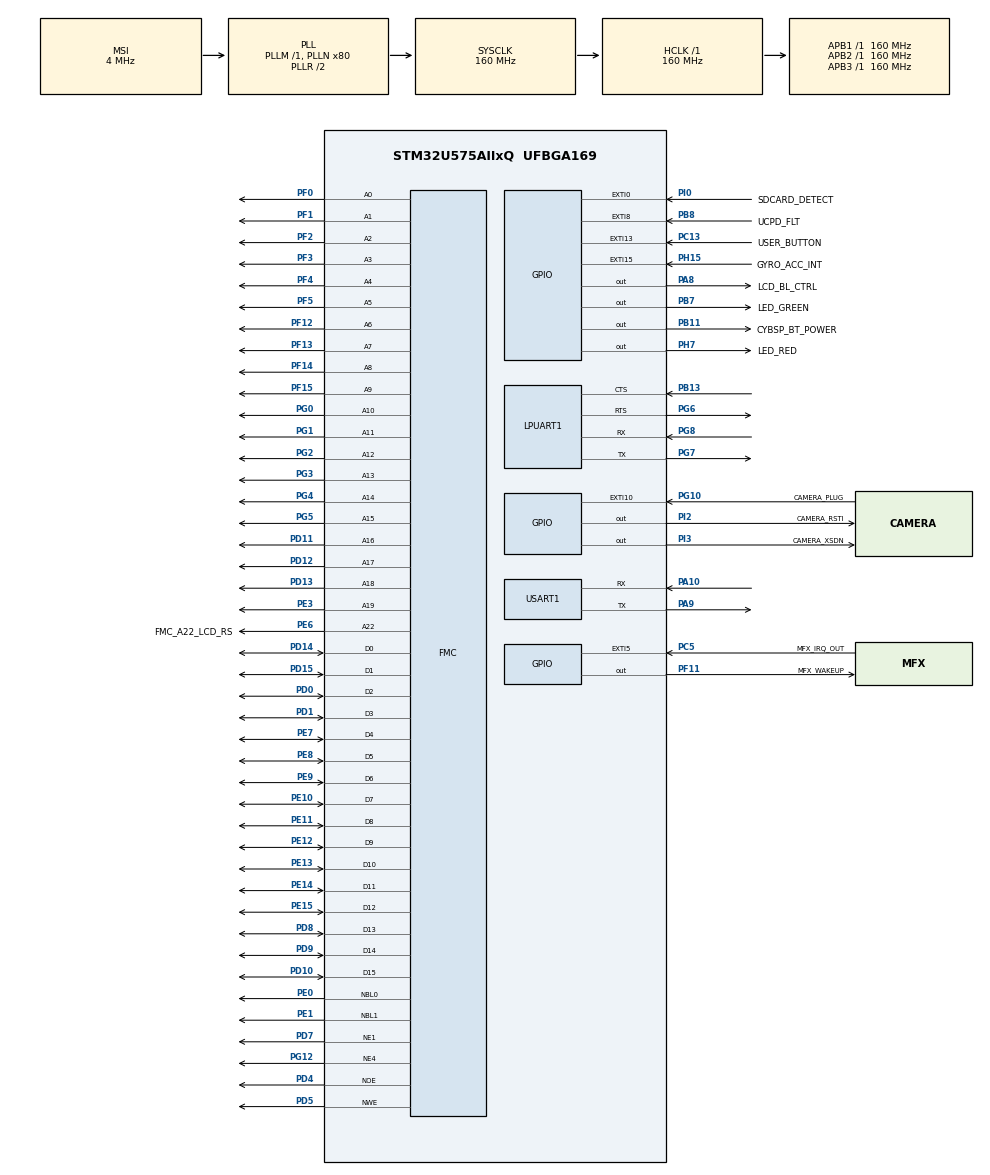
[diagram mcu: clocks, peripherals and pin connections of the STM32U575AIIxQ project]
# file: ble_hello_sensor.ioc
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CORTEX_M33_NS.userName=CORTEX_M33
GPDMA1.DESTINC_GPDMACH14=DMA_DINC_INCREMENTED
GPDMA1.DIRECTION_GPDMACH15=DMA_MEMORY_TO_PERIPH
GPDMA1.IPHANDLE_GPDMACH14-SIMPLEREQUEST_GPDMACH14=__NULL
GPDMA1.IPHANDLE_GPDMACH15-SIMPLEREQUEST_GPDMACH15=__NULL
GPDMA1.REQUEST_GPDMACH14=GPDMA1_REQUEST_LPUART1_RX
GPDMA1.REQUEST_GPDMACH15=GPDMA1_REQUEST_LPUART1_TX
GPDMA1.SRCINC_GPDMACH15=DMA_SINC_INCREMENTED
Infineon.AIROC-Wi-Fi-Bluetooth-STM32.1.8.0.CYBSP_BT_POWER=PB11
Infineon.AIROC-Wi-Fi-Bluetooth-STM32.1.8.0.CYBSP_BT_UART_CTS=PB13
Infineon.AIROC-Wi-Fi-Bluetooth-STM32.1.8.0.CYBSP_BT_UART_RTS=PG6
Infineon.AIROC-Wi-Fi-Bluetooth-STM32.1.8.0.CYBSP_BT_UART_RX=PG8
Infineon.AIROC-Wi-Fi-Bluetooth-STM32.1.8.0.CYBSP_BT_UART_TX=PG1
Infineon.AIROC-Wi-Fi-Bluetooth-STM32.1.8.0.ConnectivityCcWirelessJjBluetoothJjbtstack=BLEIiHARDFP
Infineon.AIROC-Wi-Fi-Bluetooth-STM32.1.8.0.ConnectivityCcWirelessJjBluetoothJjbtstackAaintegration=true
Infineon.AIROC-Wi-Fi-Bluetooth-STM32.1.8.0.ConnectivityCcWirelessJjPlatformJjabstractionAartos=FreeRTOS
Infineon.AIROC-Wi-Fi-Bluetooth-STM32.1.8.0.ConnectivityCcWirelessJjPlatformJjdevice=CYW43012
Infineon.AIROC-Wi-Fi-Bluetooth-STM32.1.8.0.ConnectivityCcWirelessJjPlatformJjmodule=MURATAAa1LV
Infineon.AIROC-Wi-Fi-Bluetooth-STM32.1.8.0.ConnectivityCcWirelessJjPlatformJjpal=true
Infineon.AIROC-Wi-Fi-Bluetooth-STM32.1.8.0.MiddlewareCcRTOSJjFreeRTOSJjcore=true
Infineon.AIROC-Wi-Fi-Bluetooth-STM32.1.8.0.MiddlewareCcRTOSJjFreeRTOSJjheap=HeapIi4
Mcu.Family=STM32U5
Mcu.Name=STM32U575AIIxQ
Mcu.Package=UFBGA169
NVIC.EXTI15_IRQn=true\:0\:0\:false\:false\:true\:false\:false\:true\:true
NVIC.GPDMA1_Channel14_IRQn=true\:7\:0\:true\:false\:true\:false\:true\:true\:true
NVIC.GPDMA1_Channel15_IRQn=true\:7\:0\:true\:false\:true\:false\:true\:true\:true
NVIC.LPTIM1_IRQn=true\:7\:0\:true\:false\:true\:false\:true\:true\:true
NVIC.LPUART1_IRQn=true\:7\:0\:true\:false\:true\:false\:false\:true\:true
NVIC.PriorityGroup=NVIC_PRIORITYGROUP_3
NVIC.TIM1_UP_IRQn=true\:7\:0\:false\:false\:true\:false\:false\:true\:true
NVIC.TimeBase=TIM1_UP_IRQn
NVIC.TimeBaseIP=TIM1
PA0.GPIO_Label=IBUS_SENSE
PA0.Signal=ADC1_IN5
PA1.PinAttribute=Free
PA1.Signal=TAMP_IN5
PA10.Mode=Asynchronous
PA10.Signal=USART1_RX
PA11.Signal=USB_OTG_FS_DM
PA12.Signal=USB_OTG_FS_DP
PA13\ (JTMS/SWDIO).Mode=Serial_Wire
PA13\ (JTMS/SWDIO).Signal=DEBUG_JTMS-SWDIO
PA14\ (JTCK/SWCLK).Mode=Serial_Wire
PA14\ (JTCK/SWCLK).Signal=DEBUG_JTCK-SWCLK
PA15\ (JTDI).PinAttribute=Free
PA15\ (JTDI).Signal=UCPD1_CC1
PA2.Signal=OCTOSPIM_P1_NCS
PA3.Signal=OCTOSPIM_P1_CLK
PA5.GPIO_Label=VBUS_SENSE
PA5.Signal=ADC1_IN10
PA6.Signal=OCTOSPIM_P1_IO3
PA7.Signal=OCTOSPIM_P1_IO2
PA8.GPIO_Label=LCD_BL_CTRL
PA8.Signal=GPIO_Output
PA9.Mode=Asynchronous
PA9.Signal=USART1_TX
PB0.PinAttribute=Free
PB0.Signal=OCTOSPIM_P1_IO1
PB1.Signal=OCTOSPIM_P1_IO0
PB10.GPIO_PuPdOD=GPIO_NOPULL
PB10.PinAttribute=Free
PB10.Signal=I2C2_SCL
PB11.GPIO_Label=CYBSP_BT_POWER
PB11.Signal=GPIO_Output
PB12.Signal=USART3_CK
PB13.Mode=CTS_RTS
PB13.Signal=LPUART1_CTS
PB14.Signal=TSC_G1_IO3
PB15.Signal=UCPD1_CC2
PB2.Signal=OCTOSPIM_P1_DQS
PB3\ (JTDO/TRACESWO).Signal=ADF1_CCK0
PB4\ (NJTRST).PinAttribute=Free
PB4\ (NJTRST).Signal=ADF1_SDI0
PB6.PinAttribute=Free
PB6.Signal=MDF1_SDI5
PB7.GPIO_Label=LED_GREEN
PB7.GPIO_Speed=GPIO_SPEED_FREQ_HIGH
PB7.Signal=GPIO_Output
PB8.GPIO_Label=UCPD_FLT
PB8.Signal=GPXTI8
PC0.PinAttribute=Free
PC0.Signal=OCTOSPIM_P1_IO7
PC1.Signal=OCTOSPIM_P1_IO4
PC10.Signal=SDMMC1_D2
PC11.PinAttribute=Free
PC11.Signal=SDMMC1_D3
PC12.Signal=SDMMC1_CK
PC13.GPIO_Label=USER_BUTTON
PC13.Signal=GPXTI13
PC14-OSC32_IN\ (PC14).Mode=LSE-External-Oscillator
PC14-OSC32_IN\ (PC14).Signal=RCC_OSC32_IN
PC15-OSC32_OUT\ (PC15).Mode=LSE-External-Oscillator
PC15-OSC32_OUT\ (PC15).Signal=RCC_OSC32_OUT
PC2.Signal=OCTOSPIM_P1_IO5
PC3.Signal=OCTOSPIM_P1_IO6
PC4.Signal=USART3_TX
PC5.GPIO_Label=MFX_IRQ_OUT
PC5.Signal=GPXTI5
PC6.PinAttribute=Free
PC6.Signal=TSC_G4_IO1
PC7.Signal=TSC_G4_IO2
PC8.Signal=SDMMC1_D0
PC9.Signal=SDMMC1_D1
PD0.Signal=FMC_D2_DA2
PD1.Signal=FMC_D3_DA3
PD10.PinAttribute=Free
PD10.Signal=FMC_D15_DA15
PD11.Signal=FMC_A16_CLE
PD12.PinAttribute=Free
PD12.Signal=FMC_A17_ALE
PD13.PinAttribute=Free
PD13.Signal=FMC_A18
PD14.Signal=FMC_D0_DA0
PD15.Signal=FMC_D1_DA1
PD2.Signal=SDMMC1_CMD
PD3.Signal=MDF1_SDI0
PD4.PinAttribute=Free
PD4.Signal=FMC_NOE
PD5.Signal=FMC_NWE
PD6.Signal=SAI1_SD_A
PD7.Mode=NorPsramChipSelect1_1
PD7.Signal=FMC_NE1
PD8.Signal=FMC_D13_DA13
PD9.Signal=FMC_D14_DA14
PE0.Signal=FMC_NBL0
PE1.Signal=FMC_NBL1
PE10.Signal=FMC_D7_DA7
PE11.Signal=FMC_D8_DA8
PE12.Signal=FMC_D9_DA9
PE13.Signal=FMC_D10_DA10
PE14.PinAttribute=Free
PE14.Signal=FMC_D11_DA11
PE15.Signal=FMC_D12_DA12
PE3.Signal=FMC_A19
PE4.Signal=MDF1_SDI3
PE6.GPIO_Label=FMC_A22_LCD_RS
PE6.Signal=FMC_A22
PE7.Signal=FMC_D4_DA4
PE8.PinAttribute=Free
PE8.Signal=FMC_D5_DA5
PE9.Signal=FMC_D6_DA6
PF0.Signal=FMC_A0
PF1.Signal=FMC_A1
PF10.Signal=MDF1_CCK1
PF11.GPIO_Label=MFX_WAKEUP
PF11.Signal=GPIO_Output
PF12.PinAttribute=Free
PF12.Signal=FMC_A6
PF13.Signal=FMC_A7
PF14.Signal=FMC_A8
PF15.Signal=FMC_A9
PF2.Signal=FMC_A2
PF3.PinAttribute=Free
PF3.Signal=FMC_A3
PF4.Signal=FMC_A4
PF5.PinAttribute=Free
PF5.Signal=FMC_A5
PF7.GPIO_Speed=GPIO_SPEED_FREQ_MEDIUM
PF7.PinAttribute=Free
PF7.Signal=SAI1_MCLK_B
PG0.Signal=FMC_A10
PG1.Signal=FMC_A11
PG10.GPIO_Label=CAMERA_PLUG
PG10.Signal=GPXTI10
PG12.Mode=NorPsramChipSelect4_2
PG12.Signal=FMC_NE4
PG2.PinAttribute=Free
PG2.Signal=FMC_A12
PG3.Signal=FMC_A13
PG4.PinAttribute=Free
PG4.Signal=FMC_A14
PG5.Signal=FMC_A15
PG6.Mode=CTS_RTS
PG6.Signal=LPUART1_RTS
PG7.Mode=Asynchronous
PG7.Signal=LPUART1_TX
PG8.Mode=Asynchronous
PG8.Signal=LPUART1_RX
PH0-OSC_IN\ (PH0).Mode=HSE-External-Oscillator
PH0-OSC_IN\ (PH0).Signal=RCC_OSC_IN
PH1-OSC_OUT\ (PH1).Mode=HSE-External-Oscillator
PH1-OSC_OUT\ (PH1).PinAttribute=Free
PH1-OSC_OUT\ (PH1).Signal=RCC_OSC_OUT
PH10.Signal=DCMI_D1
PH11.Signal=DCMI_D2
PH12.Signal=DCMI_D3
PH14.Signal=DCMI_D4
PH15.GPIO_Label=GYRO_ACC_INT
PH15.Signal=GPXTI15
PH5.Signal=DCMI_PIXCLK
PH7.GPIO_Label=LED_RED
PH7.GPIO_Speed=GPIO_SPEED_FREQ_HIGH
PH7.Signal=GPIO_Output
PH8.Signal=DCMI_HSYNC
PH9.Signal=DCMI_D0
PI0.GPIO_Label=SDCARD_DETECT
PI0.Signal=GPXTI0
PI2.GPIO_Label=CAMERA_RSTI
PI2.GPIO_Speed=GPIO_SPEED_FREQ_HIGH
PI2.Signal=GPIO_Output
PI3.GPIO_Label=CAMERA_XSDN
PI3.GPIO_Speed=GPIO_SPEED_FREQ_HIGH
PI3.Signal=GPIO_Output
PI4.Signal=DCMI_D5
PI5.PinAttribute=Free
PI5.Signal=DCMI_VSYNC
PI6.Signal=DCMI_D6
PI7.Signal=DCMI_D7
PWR.PowerMode=PWR_SMPS_SUPPLY
ProjectManager.HeapSize=0x8000
ProjectManager.StackSize=0x400
ProjectManager.TargetToolchain=STM32CubeIDE
RCC.ADCFreq_Value=16000000
RCC.AHBFreq_Value=160000000
RCC.APB1Freq_Value=160000000
RCC.APB1TimFreq_Value=160000000
RCC.APB2Freq_Value=160000000
RCC.APB2TimFreq_Value=160000000
RCC.APB3Freq_Value=160000000
RCC.CortexFreq_Value=160000000
RCC.DACCLockSelectionVirtual=RCC_DAC1CLKSOURCE_LSI
RCC.EPOD_VALUE=4000000
RCC.HCLKFreq_Value=160000000
RCC.HSE_VALUE=16000000
RCC.HSI48_VALUE=48000000
RCC.HSI_VALUE=16000000
RCC.LPTIM1CLockSelectionVirtual=RCC_LPTIM1CLKSOURCE_LSE
RCC.LSIDIV_VALUE=32000
RCC.MSI_VALUE=4000000
RCC.PLL2FRACN=0
RCC.PLL2N=80
RCC.PLL3N=80
RCC.PLLFRACN=0
RCC.PLLN=80
RCC.SDMMCClockSelection=RCC_SDMMCCLKSOURCE_CLK48
RCC.SYSCLKFreq_VALUE=160000000
RCC.SYSCLKSource=RCC_SYSCLKSOURCE_PLLCLK
RCC.USBFreq_Value=48000000
RCC.VCOOutputFreq_Value=320000000
SH.FMC_A0.0=FMC_A0,20b-a1
SH.FMC_A1.0=FMC_A1,20b-a1
SH.FMC_A10.0=FMC_A10,20b-a1
SH.FMC_A11.0=FMC_A11,20b-a1
SH.FMC_A12.0=FMC_A12,20b-a1
SH.FMC_A13.0=FMC_A13,20b-a1
SH.FMC_A14.0=FMC_A14,20b-a1
SH.FMC_A15.0=FMC_A15,20b-a1
SH.FMC_A16_CLE.0=FMC_A16,20b-a1
SH.FMC_A17_ALE.0=FMC_A17,20b-a1
SH.FMC_A18.0=FMC_A18,20b-a1
SH.FMC_A19.0=FMC_A19,20b-a1
SH.FMC_A2.0=FMC_A2,20b-a1
SH.FMC_A22.0=FMC_A22,A22_2
SH.FMC_A3.0=FMC_A3,20b-a1
SH.FMC_A4.0=FMC_A4,20b-a1
SH.FMC_A5.0=FMC_A5,20b-a1
SH.FMC_A6.0=FMC_A6,20b-a1
SH.FMC_A7.0=FMC_A7,20b-a1
SH.FMC_A8.0=FMC_A8,20b-a1
SH.FMC_A9.0=FMC_A9,20b-a1
SH.FMC_D0_DA0.0=FMC_D0,16b-d1
SH.FMC_D0_DA0.1=FMC_D0,16b-d2
SH.FMC_D10_DA10.0=FMC_D10,16b-d1
SH.FMC_D10_DA10.1=FMC_D10,16b-d2
SH.FMC_D11_DA11.0=FMC_D11,16b-d1
SH.FMC_D11_DA11.1=FMC_D11,16b-d2
SH.FMC_D12_DA12.0=FMC_D12,16b-d1
SH.FMC_D12_DA12.1=FMC_D12,16b-d2
SH.FMC_D13_DA13.0=FMC_D13,16b-d1
SH.FMC_D13_DA13.1=FMC_D13,16b-d2
SH.FMC_D14_DA14.0=FMC_D14,16b-d1
SH.FMC_D14_DA14.1=FMC_D14,16b-d2
SH.FMC_D15_DA15.0=FMC_D15,16b-d1
SH.FMC_D15_DA15.1=FMC_D15,16b-d2
SH.FMC_D1_DA1.0=FMC_D1,16b-d1
SH.FMC_D1_DA1.1=FMC_D1,16b-d2
SH.FMC_D2_DA2.0=FMC_D2,16b-d1
SH.FMC_D2_DA2.1=FMC_D2,16b-d2
SH.FMC_D3_DA3.0=FMC_D3,16b-d1
SH.FMC_D3_DA3.1=FMC_D3,16b-d2
SH.FMC_D4_DA4.0=FMC_D4,16b-d1
SH.FMC_D4_DA4.1=FMC_D4,16b-d2
SH.FMC_D5_DA5.0=FMC_D5,16b-d1
SH.FMC_D5_DA5.1=FMC_D5,16b-d2
SH.FMC_D6_DA6.0=FMC_D6,16b-d1
SH.FMC_D6_DA6.1=FMC_D6,16b-d2
SH.FMC_D7_DA7.0=FMC_D7,16b-d1
SH.FMC_D7_DA7.1=FMC_D7,16b-d2
SH.FMC_D8_DA8.0=FMC_D8,16b-d1
SH.FMC_D8_DA8.1=FMC_D8,16b-d2
SH.FMC_D9_DA9.0=FMC_DA9
SH.FMC_D9_DA9.1=FMC_D9,16b-d1
SH.FMC_D9_DA9.2=FMC_D9,16b-d2
SH.FMC_NBL0.0=FMC_NBL0,2ByteEnable1
SH.FMC_NBL1.0=FMC_NBL1,2ByteEnable1
SH.FMC_NOE.0=FMC_NOE,Sram1
SH.FMC_NOE.1=FMC_NOE,Lcd2
SH.FMC_NWE.0=FMC_NWE,Sram1
SH.FMC_NWE.1=FMC_NWE,Lcd2
USART1.FIFOMode=FIFOMODE_ENABLE
USART1.VirtualMode-Asynchronous=VM_ASYNC
VP_GPDMA1_VS_GPDMACH14.Mode=SIMPLEREQUEST_GPDMACH14
VP_GPDMA1_VS_GPDMACH15.Mode=SIMPLEREQUEST_GPDMACH15
VP_ICACHE_VS_ICACHE.Mode=DirectMappedCache
VP_Infineon.AIROC-Wi-Fi-Bluetooth-STM32_VS_RTOSJjMiddleware_10.3.1_1.8.0.Mode=RTOSJjMiddleware
VP_Infineon.AIROC-Wi-Fi-Bluetooth-STM32_VS_WirelessJjConnectivity_1.8.0_1.8.0.Mode=WirelessJjConnectivity
VP_LPBAMQUEUE_VS_QUEUE.Mode=QUEUEMODE
VP_LPBAM_VS_SIG1.Mode=SmartRun
VP_LPBAM_VS_SIG4.Mode=LPDMA1
VP_LPTIM1_VS_LPTIM_counterModeInternalClock.Mode=Counts__internal_clock_event_00
VP_PWR_VS_DBSignals.Mode=DisableDeadBatterySignals
VP_PWR_VS_LPOM.Mode=PowerOptimisation
VP_PWR_VS_SECSignals.Mode=Security/Privilege
VP_SYS_VS_tim1.Mode=TIM1
board=STM32U575I-EV

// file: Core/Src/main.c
/* USER CODE BEGIN Header */
/**
  ******************************************************************************
  * @file           : main.c
  * @brief          : Main program body
  ******************************************************************************
  * @attention
  *
  * <h2><center>&copy; Copyright (c) 2021 STMicroelectronics.
  * All rights reserved.</center></h2>
  *
  * This software component is licensed by ST under Ultimate Liberty license
  * SLA0044, the "License"; You may not use this file except in compliance with
  * the License. You may obtain a copy of the License at:
  *                             www.st.com/SLA0044
  *
  ******************************************************************************
  */
/* USER CODE END Header */
#include "main.h"

/* USER CODE BEGIN Includes */
#include "cmsis_os2.h"
#include "cyhal_sdio.h"
#include "stm32_cyhal_sdio_ex.h"
#include "stm32_cyhal_gpio_ex.h"

#include "wifi_bt_if.h"

#include "cybsp.h"
#include "cyhal.h"
#include "cyabs_rtos.h"

#include "wiced_bt_stack.h"
#include "wiced_memory.h"
#include "wiced_bt_dev.h"

#include <app_platform_cfg.h>
#include "cybt_platform_trace.h"

#include "cy_utils.h"
#include "stdio.h"
/* USER CODE END Includes */

/* USER CODE BEGIN PD */
#ifndef HSEM_ID_0
#define HSEM_ID_0 (0U) /* HW semaphore 0*/
#endif
/* USER CODE END PD */

LPTIM_HandleTypeDef hlptim1;

UART_HandleTypeDef hlpuart1;
UART_HandleTypeDef huart1;
DMA_HandleTypeDef handle_GPDMA1_Channel15;
DMA_HandleTypeDef handle_GPDMA1_Channel14;

SRAM_HandleTypeDef hsram1;
SRAM_HandleTypeDef hsram2;

/* USER CODE BEGIN PV */
extern void application_start( void );
/* Definitions for defaultTask */
osThreadId_t defaultTaskHandle;
const osThreadAttr_t defaultTask_attributes = {
  .name = "defaultTask",
  .priority = (osPriority_t) osPriorityNormal,
  .stack_size = 512 * 4
};
/* USER CODE END PV */

void SystemClock_Config(void);
static void SystemPower_Config(void);
static void MX_GPIO_Init(void);
static void MX_GPDMA1_Init(void);
static void MX_USART1_UART_Init(void);
static void MX_FMC_Init(void);
static void MX_LPUART1_UART_Init(void);
static void MX_ICACHE_Init(void);
static void MX_LPTIM1_Init(void);
/* USER CODE BEGIN PFP */
void default_task(void *argument);
/* USER CODE END PFP */

/* USER CODE BEGIN 0 */

#ifdef __GNUC__
    /* With GCC/RAISONANCE, small printf (option LD Linker->Libraries->Small printf
       set to 'Yes') calls __io_putchar() */
    /***************************************************************************
    * Function Name: __io_putchar (GCC)
    ***************************************************************************/
    int __io_putchar(int ch)
    {
      HAL_UART_Transmit(&huart1, (uint8_t *)&ch, 1, 0xFFFF);
      return ch;
    }

#elif defined (__ICCARM__) /* IAR */
    #include <yfuns.h>

    /***************************************************************************
    * Function Name: __write (IAR)
    ***************************************************************************/
    size_t __write(int handle, const unsigned char * buffer, size_t size)
    {
        size_t nChars = 0;
        /* This template only writes to "standard out", for all other file
         * handles it returns failure. */
        if (handle != _LLIO_STDOUT)
        {
            return (_LLIO_ERROR);
        }
        if (buffer != NULL)
        {
            for (/* Empty */; nChars < size; ++nChars)
            {
                HAL_UART_Transmit(&huart1, (uint8_t *)buffer, 1, 0xFFFF);
                ++buffer;
            }
        }
        return (nChars);
    }
#endif /* __GNUC__ */

/* USER CODE END 0 */

int main(void)
{

  /* MCU Configuration--------------------------------------------------------*/

  /* Reset of all peripherals, Initializes the Flash interface and the Systick. */
  HAL_Init();

  /* Configure the system clock */
  SystemClock_Config();

  /* Configure the System Power */
  SystemPower_Config();

  /* Initialize all configured peripherals */
  MX_GPIO_Init();
  MX_GPDMA1_Init();
  MX_USART1_UART_Init();
  MX_FMC_Init();
  MX_LPUART1_UART_Init();
  MX_ICACHE_Init();
  MX_LPTIM1_Init();
  /* USER CODE BEGIN 2 */

  /* PAL init */
  stm32_cypal_bt_init(&hlpuart1, &hlptim1);

  /* configure BLE Platform */
  cybt_platform_config_init(&bt_platform_cfg_settings);

  /* Start BLE application */
  application_start();
  /* Init scheduler */
  osKernelInitialize();
  /* creation of defaultTask */
  defaultTaskHandle = osThreadNew(default_task, NULL, &defaultTask_attributes);
  /* Start scheduler */
  osKernelStart();

  /* We should never get here as control is now taken by the scheduler */
  /* USER CODE END 2 */

  /* Infinite loop */
  while (1)
  {

  }
}

void SystemClock_Config(void)
{
  RCC_OscInitTypeDef RCC_OscInitStruct = {0};
  RCC_ClkInitTypeDef RCC_ClkInitStruct = {0};

  /** Configure the main internal regulator output voltage
  */
  if (HAL_PWREx_ControlVoltageScaling(PWR_REGULATOR_VOLTAGE_SCALE1) != HAL_OK)
  {
    Error_Handler();
  }

  /** Configure LSE Drive Capability
  */
  HAL_PWR_EnableBkUpAccess();
  __HAL_RCC_LSEDRIVE_CONFIG(RCC_LSEDRIVE_LOW);

  /** Initializes the CPU, AHB and APB buses clocks
  */
  RCC_OscInitStruct.OscillatorType = RCC_OSCILLATORTYPE_LSE|RCC_OSCILLATORTYPE_MSI;
  RCC_OscInitStruct.LSEState = RCC_LSE_ON;
  RCC_OscInitStruct.MSIState = RCC_MSI_ON;
  RCC_OscInitStruct.MSICalibrationValue = RCC_MSICALIBRATION_DEFAULT;
  RCC_OscInitStruct.MSIClockRange = RCC_MSIRANGE_4;
  RCC_OscInitStruct.PLL.PLLState = RCC_PLL_ON;
  RCC_OscInitStruct.PLL.PLLSource = RCC_PLLSOURCE_MSI;
  RCC_OscInitStruct.PLL.PLLMBOOST = RCC_PLLMBOOST_DIV1;
  RCC_OscInitStruct.PLL.PLLM = 1;
  RCC_OscInitStruct.PLL.PLLN = 80;
  RCC_OscInitStruct.PLL.PLLP = 2;
  RCC_OscInitStruct.PLL.PLLQ = 2;
  RCC_OscInitStruct.PLL.PLLR = 2;
  RCC_OscInitStruct.PLL.PLLRGE = RCC_PLLVCIRANGE_0;
  RCC_OscInitStruct.PLL.PLLFRACN = 0;
  if (HAL_RCC_OscConfig(&RCC_OscInitStruct) != HAL_OK)
  {
    Error_Handler();
  }

  /** Initializes the CPU, AHB and APB buses clocks
  */
  RCC_ClkInitStruct.ClockType = RCC_CLOCKTYPE_HCLK|RCC_CLOCKTYPE_SYSCLK
                              |RCC_CLOCKTYPE_PCLK1|RCC_CLOCKTYPE_PCLK2
                              |RCC_CLOCKTYPE_PCLK3;
  RCC_ClkInitStruct.SYSCLKSource = RCC_SYSCLKSOURCE_PLLCLK;
  RCC_ClkInitStruct.AHBCLKDivider = RCC_SYSCLK_DIV1;
  RCC_ClkInitStruct.APB1CLKDivider = RCC_HCLK_DIV1;
  RCC_ClkInitStruct.APB2CLKDivider = RCC_HCLK_DIV1;
  RCC_ClkInitStruct.APB3CLKDivider = RCC_HCLK_DIV1;

  if (HAL_RCC_ClockConfig(&RCC_ClkInitStruct, FLASH_LATENCY_4) != HAL_OK)
  {
    Error_Handler();
  }
}

/**
  * @brief Power Configuration
  * @retval None
  */
static void SystemPower_Config(void)
{
  HAL_PWREx_EnableVddIO2();

  /*
   * Disable the internal Pull-Up in Dead Battery pins of UCPD peripheral
   */
  HAL_PWREx_DisableUCPDDeadBattery();

  /*
   * Switch to SMPS regulator instead of LDO
   */
  if (HAL_PWREx_ConfigSupply(PWR_SMPS_SUPPLY) != HAL_OK)
  {
    Error_Handler();
  }
}

static void MX_GPDMA1_Init(void)
{

  /* Peripheral clock enable */
  __HAL_RCC_GPDMA1_CLK_ENABLE();

  /* GPDMA1 interrupt Init */
    HAL_NVIC_SetPriority(GPDMA1_Channel14_IRQn, 0, 0);
    HAL_NVIC_EnableIRQ(GPDMA1_Channel14_IRQn);
    HAL_NVIC_SetPriority(GPDMA1_Channel15_IRQn, 0, 0);
    HAL_NVIC_EnableIRQ(GPDMA1_Channel15_IRQn);

}

static void MX_ICACHE_Init(void)
{

  /** Enable instruction cache in 1-way (direct mapped cache)
  */
  if (HAL_ICACHE_ConfigAssociativityMode(ICACHE_1WAY) != HAL_OK)
  {
    Error_Handler();
  }
  if (HAL_ICACHE_Enable() != HAL_OK)
  {
    Error_Handler();
  }

}

static void MX_LPTIM1_Init(void)
{

  hlptim1.Instance = LPTIM1;
  hlptim1.Init.Clock.Source = LPTIM_CLOCKSOURCE_APBCLOCK_LPOSC;
  hlptim1.Init.Clock.Prescaler = LPTIM_PRESCALER_DIV1;
  hlptim1.Init.Trigger.Source = LPTIM_TRIGSOURCE_SOFTWARE;
  hlptim1.Init.Period = 65535;
  hlptim1.Init.UpdateMode = LPTIM_UPDATE_IMMEDIATE;
  hlptim1.Init.CounterSource = LPTIM_COUNTERSOURCE_INTERNAL;
  hlptim1.Init.Input1Source = LPTIM_INPUT1SOURCE_GPIO;
  hlptim1.Init.Input2Source = LPTIM_INPUT2SOURCE_GPIO;
  hlptim1.Init.RepetitionCounter = 0;
  if (HAL_LPTIM_Init(&hlptim1) != HAL_OK)
  {
    Error_Handler();
  }

}

static void MX_LPUART1_UART_Init(void)
{

  hlpuart1.Instance = LPUART1;
  hlpuart1.Init.BaudRate = 209700;
  hlpuart1.Init.WordLength = UART_WORDLENGTH_8B;
  hlpuart1.Init.StopBits = UART_STOPBITS_1;
  hlpuart1.Init.Parity = UART_PARITY_NONE;
  hlpuart1.Init.Mode = UART_MODE_TX_RX;
  hlpuart1.Init.HwFlowCtl = UART_HWCONTROL_RTS_CTS;
  hlpuart1.Init.OneBitSampling = UART_ONE_BIT_SAMPLE_DISABLE;
  hlpuart1.AdvancedInit.AdvFeatureInit = UART_ADVFEATURE_NO_INIT;
  hlpuart1.FifoMode = UART_FIFOMODE_DISABLE;
  if (HAL_UART_Init(&hlpuart1) != HAL_OK)
  {
    Error_Handler();
  }
  if (HAL_UARTEx_SetTxFifoThreshold(&hlpuart1, UART_TXFIFO_THRESHOLD_1_8) != HAL_OK)
  {
    Error_Handler();
  }
  if (HAL_UARTEx_SetRxFifoThreshold(&hlpuart1, UART_RXFIFO_THRESHOLD_1_8) != HAL_OK)
  {
    Error_Handler();
  }
  if (HAL_UARTEx_DisableFifoMode(&hlpuart1) != HAL_OK)
  {
    Error_Handler();
  }

}

static void MX_USART1_UART_Init(void)
{

  huart1.Instance = USART1;
  huart1.Init.BaudRate = 115200;
  huart1.Init.WordLength = UART_WORDLENGTH_8B;
  huart1.Init.StopBits = UART_STOPBITS_1;
  huart1.Init.Parity = UART_PARITY_NONE;
  huart1.Init.Mode = UART_MODE_TX_RX;
  huart1.Init.HwFlowCtl = UART_HWCONTROL_NONE;
  huart1.Init.OverSampling = UART_OVERSAMPLING_16;
  huart1.Init.OneBitSampling = UART_ONE_BIT_SAMPLE_DISABLE;
  huart1.Init.ClockPrescaler = UART_PRESCALER_DIV1;
  huart1.AdvancedInit.AdvFeatureInit = UART_ADVFEATURE_NO_INIT;
  if (HAL_UART_Init(&huart1) != HAL_OK)
  {
    Error_Handler();
  }
  if (HAL_UARTEx_SetTxFifoThreshold(&huart1, UART_TXFIFO_THRESHOLD_1_8) != HAL_OK)
  {
    Error_Handler();
  }
  if (HAL_UARTEx_SetRxFifoThreshold(&huart1, UART_RXFIFO_THRESHOLD_1_8) != HAL_OK)
  {
    Error_Handler();
  }
  if (HAL_UARTEx_EnableFifoMode(&huart1) != HAL_OK)
  {
    Error_Handler();
  }

}

/* FMC initialization function */
static void MX_FMC_Init(void)
{

  FMC_NORSRAM_TimingTypeDef Timing = {0};

  /** Perform the SRAM1 memory initialization sequence
  */
  hsram1.Instance = FMC_NORSRAM_DEVICE;
  hsram1.Extended = FMC_NORSRAM_EXTENDED_DEVICE;
  /* hsram1.Init */
  hsram1.Init.NSBank = FMC_NORSRAM_BANK1;
  hsram1.Init.DataAddressMux = FMC_DATA_ADDRESS_MUX_DISABLE;
  hsram1.Init.MemoryType = FMC_MEMORY_TYPE_SRAM;
  hsram1.Init.MemoryDataWidth = FMC_NORSRAM_MEM_BUS_WIDTH_16;
  hsram1.Init.BurstAccessMode = FMC_BURST_ACCESS_MODE_DISABLE;
  hsram1.Init.WaitSignalPolarity = FMC_WAIT_SIGNAL_POLARITY_LOW;
  hsram1.Init.WaitSignalActive = FMC_WAIT_TIMING_BEFORE_WS;
  hsram1.Init.WriteOperation = FMC_WRITE_OPERATION_DISABLE;
  hsram1.Init.WaitSignal = FMC_WAIT_SIGNAL_DISABLE;
  hsram1.Init.ExtendedMode = FMC_EXTENDED_MODE_DISABLE;
  hsram1.Init.AsynchronousWait = FMC_ASYNCHRONOUS_WAIT_DISABLE;
  hsram1.Init.WriteBurst = FMC_WRITE_BURST_DISABLE;
  hsram1.Init.ContinuousClock = FMC_CONTINUOUS_CLOCK_SYNC_ONLY;
  hsram1.Init.WriteFifo = FMC_WRITE_FIFO_ENABLE;
  hsram1.Init.NBLSetupTime = 0;
  hsram1.Init.PageSize = FMC_PAGE_SIZE_NONE;
  hsram1.Init.MaxChipSelectPulse = DISABLE;
  /* Timing */
  Timing.AddressSetupTime = 15;
  Timing.AddressHoldTime = 15;
  Timing.DataSetupTime = 255;
  Timing.DataHoldTime = 0;
  Timing.BusTurnAroundDuration = 15;
  Timing.CLKDivision = 16;
  Timing.DataLatency = 17;
  Timing.AccessMode = FMC_ACCESS_MODE_A;
  /* ExtTiming */

  if (HAL_SRAM_Init(&hsram1, &Timing, NULL) != HAL_OK)
  {
    Error_Handler( );
  }

  /** Perform the SRAM2 memory initialization sequence
  */
  hsram2.Instance = FMC_NORSRAM_DEVICE;
  hsram2.Extended = FMC_NORSRAM_EXTENDED_DEVICE;
  /* hsram2.Init */
  hsram2.Init.NSBank = FMC_NORSRAM_BANK4;
  hsram2.Init.DataAddressMux = FMC_DATA_ADDRESS_MUX_DISABLE;
  hsram2.Init.MemoryType = FMC_MEMORY_TYPE_SRAM;
  hsram2.Init.MemoryDataWidth = FMC_NORSRAM_MEM_BUS_WIDTH_16;
  hsram2.Init.BurstAccessMode = FMC_BURST_ACCESS_MODE_DISABLE;
  hsram2.Init.WaitSignalPolarity = FMC_WAIT_SIGNAL_POLARITY_LOW;
  hsram2.Init.WaitSignalActive = FMC_WAIT_TIMING_BEFORE_WS;
  hsram2.Init.WriteOperation = FMC_WRITE_OPERATION_ENABLE;
  hsram2.Init.WaitSignal = FMC_WAIT_SIGNAL_DISABLE;
  hsram2.Init.ExtendedMode = FMC_EXTENDED_MODE_DISABLE;
  hsram2.Init.AsynchronousWait = FMC_ASYNCHRONOUS_WAIT_DISABLE;
  hsram2.Init.WriteBurst = FMC_WRITE_BURST_DISABLE;
  hsram2.Init.ContinuousClock = FMC_CONTINUOUS_CLOCK_SYNC_ONLY;
  hsram2.Init.WriteFifo = FMC_WRITE_FIFO_ENABLE;
  hsram2.Init.NBLSetupTime = 0;
  hsram2.Init.PageSize = FMC_PAGE_SIZE_NONE;
  hsram2.Init.MaxChipSelectPulse = DISABLE;
  /* Timing */
  Timing.AddressSetupTime = 15;
  Timing.AddressHoldTime = 15;
  Timing.DataSetupTime = 255;
  Timing.DataHoldTime = 0;
  Timing.BusTurnAroundDuration = 15;
  Timing.CLKDivision = 16;
  Timing.DataLatency = 17;
  Timing.AccessMode = FMC_ACCESS_MODE_A;
  /* ExtTiming */

  if (HAL_SRAM_Init(&hsram2, &Timing, NULL) != HAL_OK)
  {
    Error_Handler( );
  }

}

static void MX_GPIO_Init(void)
{
  GPIO_InitTypeDef GPIO_InitStruct = {0};

  /* GPIO Ports Clock Enable */
  __HAL_RCC_GPIOI_CLK_ENABLE();
  __HAL_RCC_GPIOC_CLK_ENABLE();
  __HAL_RCC_GPIOA_CLK_ENABLE();
  __HAL_RCC_GPIOH_CLK_ENABLE();
  __HAL_RCC_GPIOB_CLK_ENABLE();
  __HAL_RCC_GPIOD_CLK_ENABLE();
  __HAL_RCC_GPIOE_CLK_ENABLE();
  __HAL_RCC_GPIOG_CLK_ENABLE();
  __HAL_RCC_GPIOF_CLK_ENABLE();

  /*Configure GPIO pin Output Level */
  HAL_GPIO_WritePin(GPIOI, CAMERA_XSDN_Pin|CAMERA_RSTI_Pin, GPIO_PIN_RESET);

  /*Configure GPIO pin Output Level */
  HAL_GPIO_WritePin(GPIOB, LED_GREEN_Pin|CYBSP_BT_POWER_Pin, GPIO_PIN_RESET);

  /*Configure GPIO pin Output Level */
  HAL_GPIO_WritePin(LED_RED_GPIO_Port, LED_RED_Pin, GPIO_PIN_RESET);

  /*Configure GPIO pin Output Level */
  HAL_GPIO_WritePin(LCD_BL_CTRL_GPIO_Port, LCD_BL_CTRL_Pin, GPIO_PIN_RESET);

  /*Configure GPIO pin Output Level */
  HAL_GPIO_WritePin(MFX_WAKEUP_GPIO_Port, MFX_WAKEUP_Pin, GPIO_PIN_RESET);

  /*Configure GPIO pins : PI6 PI5 PI4 PI7 */
  GPIO_InitStruct.Pin = GPIO_PIN_6|GPIO_PIN_5|GPIO_PIN_4|GPIO_PIN_7;
  GPIO_InitStruct.Mode = GPIO_MODE_AF_PP;
  GPIO_InitStruct.Pull = GPIO_NOPULL;
  GPIO_InitStruct.Speed = GPIO_SPEED_FREQ_LOW;
  GPIO_InitStruct.Alternate = GPIO_AF10_DCMI;
  HAL_GPIO_Init(GPIOI, &GPIO_InitStruct);

  /*Configure GPIO pins : PC11 PC10 PC12 PC9
                           PC8 */
  GPIO_InitStruct.Pin = GPIO_PIN_11|GPIO_PIN_10|GPIO_PIN_12|GPIO_PIN_9
                          |GPIO_PIN_8;
  GPIO_InitStruct.Mode = GPIO_MODE_AF_PP;
  GPIO_InitStruct.Pull = GPIO_NOPULL;
  GPIO_InitStruct.Speed = GPIO_SPEED_FREQ_HIGH;
  GPIO_InitStruct.Alternate = GPIO_AF12_SDMMC1;
  HAL_GPIO_Init(GPIOC, &GPIO_InitStruct);

  /*Configure GPIO pins : PA15 IBUS_SENSE_Pin VBUS_SENSE_Pin */
  GPIO_InitStruct.Pin = GPIO_PIN_15|IBUS_SENSE_Pin|VBUS_SENSE_Pin;
  GPIO_InitStruct.Mode = GPIO_MODE_ANALOG;
  GPIO_InitStruct.Pull = GPIO_NOPULL;
  HAL_GPIO_Init(GPIOA, &GPIO_InitStruct);

  /*Configure GPIO pin : GYRO_ACC_INT_Pin */
  GPIO_InitStruct.Pin = GYRO_ACC_INT_Pin;
  GPIO_InitStruct.Mode = GPIO_MODE_IT_RISING;
  GPIO_InitStruct.Pull = GPIO_NOPULL;
  HAL_GPIO_Init(GYRO_ACC_INT_GPIO_Port, &GPIO_InitStruct);

  /*Configure GPIO pin : PB6 */
  GPIO_InitStruct.Pin = GPIO_PIN_6;
  GPIO_InitStruct.Mode = GPIO_MODE_AF_PP;
  GPIO_InitStruct.Pull = GPIO_NOPULL;
  GPIO_InitStruct.Speed = GPIO_SPEED_FREQ_LOW;
  GPIO_InitStruct.Alternate = GPIO_AF6_MDF1;
  HAL_GPIO_Init(GPIOB, &GPIO_InitStruct);

  /*Configure GPIO pins : PB4 PB3 */
  GPIO_InitStruct.Pin = GPIO_PIN_4|GPIO_PIN_3;
  GPIO_InitStruct.Mode = GPIO_MODE_AF_PP;
  GPIO_InitStruct.Pull = GPIO_NOPULL;
  GPIO_InitStruct.Speed = GPIO_SPEED_FREQ_LOW;
  GPIO_InitStruct.Alternate = GPIO_AF3_ADF1;
  HAL_GPIO_Init(GPIOB, &GPIO_InitStruct);

  /*Configure GPIO pin : PD6 */
  GPIO_InitStruct.Pin = GPIO_PIN_6;
  GPIO_InitStruct.Mode = GPIO_MODE_AF_PP;
  GPIO_InitStruct.Pull = GPIO_NOPULL;
  GPIO_InitStruct.Speed = GPIO_SPEED_FREQ_LOW;
  GPIO_InitStruct.Alternate = GPIO_AF13_SAI1;
  HAL_GPIO_Init(GPIOD, &GPIO_InitStruct);

  /*Configure GPIO pin : SDCARD_DETECT_Pin */
  GPIO_InitStruct.Pin = SDCARD_DETECT_Pin;
  GPIO_InitStruct.Mode = GPIO_MODE_IT_RISING;
  GPIO_InitStruct.Pull = GPIO_NOPULL;
  HAL_GPIO_Init(SDCARD_DETECT_GPIO_Port, &GPIO_InitStruct);

  /*Configure GPIO pins : PH12 PH14 PH10 PH11
                           PH8 PH9 PH5 */
  GPIO_InitStruct.Pin = GPIO_PIN_12|GPIO_PIN_14|GPIO_PIN_10|GPIO_PIN_11
                          |GPIO_PIN_8|GPIO_PIN_9|GPIO_PIN_5;
  GPIO_InitStruct.Mode = GPIO_MODE_AF_PP;
  GPIO_InitStruct.Pull = GPIO_NOPULL;
  GPIO_InitStruct.Speed = GPIO_SPEED_FREQ_LOW;
  GPIO_InitStruct.Alternate = GPIO_AF10_DCMI;
  HAL_GPIO_Init(GPIOH, &GPIO_InitStruct);

  /*Configure GPIO pin : PE4 */
  GPIO_InitStruct.Pin = GPIO_PIN_4;
  GPIO_InitStruct.Mode = GPIO_MODE_AF_PP;
  GPIO_InitStruct.Pull = GPIO_NOPULL;
  GPIO_InitStruct.Speed = GPIO_SPEED_FREQ_LOW;
  GPIO_InitStruct.Alternate = GPIO_AF6_MDF1;
  HAL_GPIO_Init(GPIOE, &GPIO_InitStruct);

  /*Configure GPIO pin : CAMERA_PLUG_Pin */
  GPIO_InitStruct.Pin = CAMERA_PLUG_Pin;
  GPIO_InitStruct.Mode = GPIO_MODE_IT_RISING;
  GPIO_InitStruct.Pull = GPIO_NOPULL;
  HAL_GPIO_Init(CAMERA_PLUG_GPIO_Port, &GPIO_InitStruct);

  /*Configure GPIO pin : PD3 */
  GPIO_InitStruct.Pin = GPIO_PIN_3;
  GPIO_InitStruct.Mode = GPIO_MODE_AF_PP;
  GPIO_InitStruct.Pull = GPIO_NOPULL;
  GPIO_InitStruct.Speed = GPIO_SPEED_FREQ_LOW;
  GPIO_InitStruct.Alternate = GPIO_AF6_MDF1;
  HAL_GPIO_Init(GPIOD, &GPIO_InitStruct);

  /*Configure GPIO pins : CAMERA_XSDN_Pin CAMERA_RSTI_Pin */
  GPIO_InitStruct.Pin = CAMERA_XSDN_Pin|CAMERA_RSTI_Pin;
  GPIO_InitStruct.Mode = GPIO_MODE_OUTPUT_PP;
  GPIO_InitStruct.Pull = GPIO_NOPULL;
  GPIO_InitStruct.Speed = GPIO_SPEED_FREQ_HIGH;
  HAL_GPIO_Init(GPIOI, &GPIO_InitStruct);

  /*Configure GPIO pins : USER_BUTTON_Pin MFX_IRQ_OUT_Pin */
  GPIO_InitStruct.Pin = USER_BUTTON_Pin|MFX_IRQ_OUT_Pin;
  GPIO_InitStruct.Mode = GPIO_MODE_IT_RISING;
  GPIO_InitStruct.Pull = GPIO_NOPULL;
  HAL_GPIO_Init(GPIOC, &GPIO_InitStruct);

  /*Configure GPIO pin : UCPD_FLT_Pin */
  GPIO_InitStruct.Pin = UCPD_FLT_Pin;
  GPIO_InitStruct.Mode = GPIO_MODE_IT_RISING;
  GPIO_InitStruct.Pull = GPIO_NOPULL;
  HAL_GPIO_Init(UCPD_FLT_GPIO_Port, &GPIO_InitStruct);

  /*Configure GPIO pin : LED_GREEN_Pin */
  GPIO_InitStruct.Pin = LED_GREEN_Pin;
  GPIO_InitStruct.Mode = GPIO_MODE_OUTPUT_PP;
  GPIO_InitStruct.Pull = GPIO_NOPULL;
  GPIO_InitStruct.Speed = GPIO_SPEED_FREQ_HIGH;
  HAL_GPIO_Init(LED_GREEN_GPIO_Port, &GPIO_InitStruct);

  /*Configure GPIO pin : PD2 */
  GPIO_InitStruct.Pin = GPIO_PIN_2;
  GPIO_InitStruct.Mode = GPIO_MODE_AF_PP;
  GPIO_InitStruct.Pull = GPIO_NOPULL;
  GPIO_InitStruct.Speed = GPIO_SPEED_FREQ_HIGH;
  GPIO_InitStruct.Alternate = GPIO_AF12_SDMMC1;
  HAL_GPIO_Init(GPIOD, &GPIO_InitStruct);

  /*Configure GPIO pin : LED_RED_Pin */
  GPIO_InitStruct.Pin = LED_RED_Pin;
  GPIO_InitStruct.Mode = GPIO_MODE_OUTPUT_PP;
  GPIO_InitStruct.Pull = GPIO_NOPULL;
  GPIO_InitStruct.Speed = GPIO_SPEED_FREQ_HIGH;
  HAL_GPIO_Init(LED_RED_GPIO_Port, &GPIO_InitStruct);

  /*Configure GPIO pins : PA12 PA11 */
  GPIO_InitStruct.Pin = GPIO_PIN_12|GPIO_PIN_11;
  GPIO_InitStruct.Mode = GPIO_MODE_AF_PP;
  GPIO_InitStruct.Pull = GPIO_NOPULL;
  GPIO_InitStruct.Speed = GPIO_SPEED_FREQ_LOW;
  GPIO_InitStruct.Alternate = GPIO_AF10_USB;
  HAL_GPIO_Init(GPIOA, &GPIO_InitStruct);

  /*Configure GPIO pin : PF7 */
  GPIO_InitStruct.Pin = GPIO_PIN_7;
  GPIO_InitStruct.Mode = GPIO_MODE_AF_PP;
  GPIO_InitStruct.Pull = GPIO_NOPULL;
  GPIO_InitStruct.Speed = GPIO_SPEED_FREQ_MEDIUM;
  GPIO_InitStruct.Alternate = GPIO_AF13_SAI1;
  HAL_GPIO_Init(GPIOF, &GPIO_InitStruct);

  /*Configure GPIO pin : LCD_BL_CTRL_Pin */
  GPIO_InitStruct.Pin = LCD_BL_CTRL_Pin;
  GPIO_InitStruct.Mode = GPIO_MODE_OUTPUT_PP;
  GPIO_InitStruct.Pull = GPIO_NOPULL;
  GPIO_InitStruct.Speed = GPIO_SPEED_FREQ_LOW;
  HAL_GPIO_Init(LCD_BL_CTRL_GPIO_Port, &GPIO_InitStruct);

  /*Configure GPIO pins : PC7 PC6 */
  GPIO_InitStruct.Pin = GPIO_PIN_7|GPIO_PIN_6;
  GPIO_InitStruct.Mode = GPIO_MODE_AF_PP;
  GPIO_InitStruct.Pull = GPIO_NOPULL;
  GPIO_InitStruct.Speed = GPIO_SPEED_FREQ_LOW;
  GPIO_InitStruct.Alternate = GPIO_AF9_TSC;
  HAL_GPIO_Init(GPIOC, &GPIO_InitStruct);

  /*Configure GPIO pin : PF10 */
  GPIO_InitStruct.Pin = GPIO_PIN_10;
  GPIO_InitStruct.Mode = GPIO_MODE_AF_PP;
  GPIO_InitStruct.Pull = GPIO_NOPULL;
  GPIO_InitStruct.Speed = GPIO_SPEED_FREQ_LOW;
  GPIO_InitStruct.Alternate = GPIO_AF6_MDF1;
  HAL_GPIO_Init(GPIOF, &GPIO_InitStruct);

  /*Configure GPIO pin : PC0 */
  GPIO_InitStruct.Pin = GPIO_PIN_0;
  GPIO_InitStruct.Mode = GPIO_MODE_AF_PP;
  GPIO_InitStruct.Pull = GPIO_NOPULL;
  GPIO_InitStruct.Speed = GPIO_SPEED_FREQ_VERY_HIGH;
  GPIO_InitStruct.Alternate = GPIO_AF3_OCTOSPI1;
  HAL_GPIO_Init(GPIOC, &GPIO_InitStruct);

  /*Configure GPIO pins : PC1 PC2 PC3 */
  GPIO_InitStruct.Pin = GPIO_PIN_1|GPIO_PIN_2|GPIO_PIN_3;
  GPIO_InitStruct.Mode = GPIO_MODE_AF_PP;
  GPIO_InitStruct.Pull = GPIO_NOPULL;
  GPIO_InitStruct.Speed = GPIO_SPEED_FREQ_VERY_HIGH;
  GPIO_InitStruct.Alternate = GPIO_AF10_OCTOSPI1;
  HAL_GPIO_Init(GPIOC, &GPIO_InitStruct);

  /*Configure GPIO pins : PA7 PA2 PA3 PA6 */
  GPIO_InitStruct.Pin = GPIO_PIN_7|GPIO_PIN_2|GPIO_PIN_3|GPIO_PIN_6;
  GPIO_InitStruct.Mode = GPIO_MODE_AF_PP;
  GPIO_InitStruct.Pull = GPIO_NOPULL;
  GPIO_InitStruct.Speed = GPIO_SPEED_FREQ_VERY_HIGH;
  GPIO_InitStruct.Alternate = GPIO_AF10_OCTOSPI1;
  HAL_GPIO_Init(GPIOA, &GPIO_InitStruct);

  /*Configure GPIO pins : PB0 PB2 PB1 */
  GPIO_InitStruct.Pin = GPIO_PIN_0|GPIO_PIN_2|GPIO_PIN_1;
  GPIO_InitStruct.Mode = GPIO_MODE_AF_PP;
  GPIO_InitStruct.Pull = GPIO_NOPULL;
  GPIO_InitStruct.Speed = GPIO_SPEED_FREQ_VERY_HIGH;
  GPIO_InitStruct.Alternate = GPIO_AF10_OCTOSPI1;
  HAL_GPIO_Init(GPIOB, &GPIO_InitStruct);

  /*Configure GPIO pin : PB10 */
  GPIO_InitStruct.Pin = GPIO_PIN_10;
  GPIO_InitStruct.Mode = GPIO_MODE_AF_OD;
  GPIO_InitStruct.Pull = GPIO_NOPULL;
  GPIO_InitStruct.Speed = GPIO_SPEED_FREQ_LOW;
  GPIO_InitStruct.Alternate = GPIO_AF4_I2C2;
  HAL_GPIO_Init(GPIOB, &GPIO_InitStruct);

  /*Configure GPIO pin : PC4 */
  GPIO_InitStruct.Pin = GPIO_PIN_4;
  GPIO_InitStruct.Mode = GPIO_MODE_AF_PP;
  GPIO_InitStruct.Pull = GPIO_NOPULL;
  GPIO_InitStruct.Speed = GPIO_SPEED_FREQ_LOW;
  GPIO_InitStruct.Alternate = GPIO_AF7_USART3;
  HAL_GPIO_Init(GPIOC, &GPIO_InitStruct);

  /*Configure GPIO pin : CYBSP_BT_POWER_Pin */
  GPIO_InitStruct.Pin = CYBSP_BT_POWER_Pin;
  GPIO_InitStruct.Mode = GPIO_MODE_OUTPUT_PP;
  GPIO_InitStruct.Pull = GPIO_NOPULL;
  GPIO_InitStruct.Speed = GPIO_SPEED_FREQ_LOW;
  HAL_GPIO_Init(CYBSP_BT_POWER_GPIO_Port, &GPIO_InitStruct);

  /*Configure GPIO pin : PB12 */
  GPIO_InitStruct.Pin = GPIO_PIN_12;
  GPIO_InitStruct.Mode = GPIO_MODE_AF_PP;
  GPIO_InitStruct.Pull = GPIO_NOPULL;
  GPIO_InitStruct.Speed = GPIO_SPEED_FREQ_LOW;
  GPIO_InitStruct.Alternate = GPIO_AF7_USART3;
  HAL_GPIO_Init(GPIOB, &GPIO_InitStruct);

  /*Configure GPIO pin : PB15 */
  GPIO_InitStruct.Pin = GPIO_PIN_15;
  GPIO_InitStruct.Mode = GPIO_MODE_ANALOG;
  GPIO_InitStruct.Pull = GPIO_NOPULL;
  HAL_GPIO_Init(GPIOB, &GPIO_InitStruct);

  /*Configure GPIO pin : MFX_WAKEUP_Pin */
  GPIO_InitStruct.Pin = MFX_WAKEUP_Pin;
  GPIO_InitStruct.Mode = GPIO_MODE_OUTPUT_PP;
  GPIO_InitStruct.Pull = GPIO_NOPULL;
  GPIO_InitStruct.Speed = GPIO_SPEED_FREQ_LOW;
  HAL_GPIO_Init(MFX_WAKEUP_GPIO_Port, &GPIO_InitStruct);

  /*Configure GPIO pin : PB14 */
  GPIO_InitStruct.Pin = GPIO_PIN_14;
  GPIO_InitStruct.Mode = GPIO_MODE_AF_PP;
  GPIO_InitStruct.Pull = GPIO_NOPULL;
  GPIO_InitStruct.Speed = GPIO_SPEED_FREQ_LOW;
  GPIO_InitStruct.Alternate = GPIO_AF9_TSC;
  HAL_GPIO_Init(GPIOB, &GPIO_InitStruct);

  /* EXTI interrupt init*/
  HAL_NVIC_SetPriority(EXTI15_IRQn, 0, 0);
  HAL_NVIC_EnableIRQ(EXTI15_IRQn);

}

/* USER CODE BEGIN 4 */

//Stack OverFlow error handling
void vApplicationStackOverflowHook( TaskHandle_t xTask,
                                    char * pcTaskName )
{
    printf( "ERROR: stack overflow with task %s\r\n", pcTaskName );
    portDISABLE_INTERRUPTS();

    /* Unused Parameters */
    ( void ) xTask;

    /* Loop forever */
    for( ; ; )
    {
    }
}

/* USER CODE BEGIN Header_default_task */
/**
  * @brief  Function implementing the defaultTask thread.
  * @param  argument: Not used
  * @retval None
  */
__weak void default_task(void *argument)
{
  /* Infinite loop */
  for(;;)
  {
    osDelay(1);
  }
}

/* USER CODE END 4 */

void HAL_TIM_PeriodElapsedCallback(TIM_HandleTypeDef *htim)
{
  if (htim->Instance == TIM1) {
    HAL_IncTick();
  }
}

void Error_Handler(void)
{
  __disable_irq();
  while (1)
  {
  }
}
